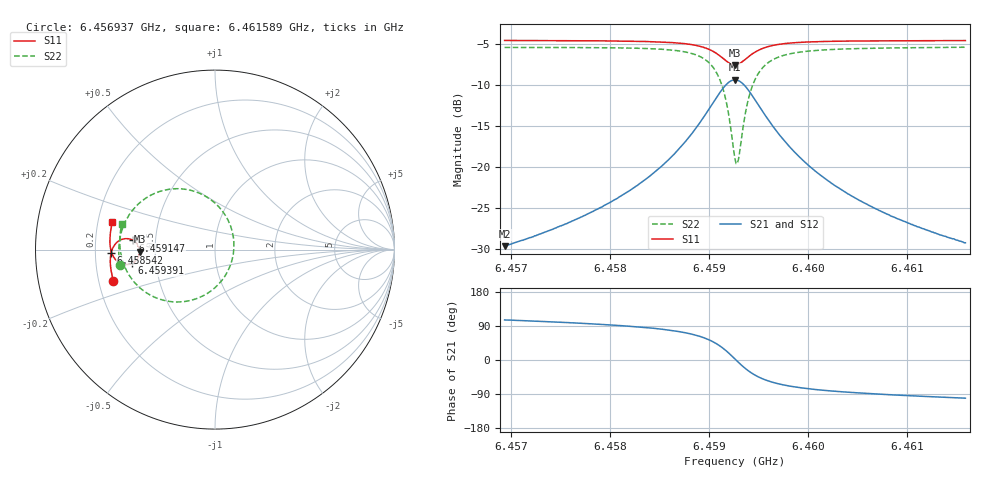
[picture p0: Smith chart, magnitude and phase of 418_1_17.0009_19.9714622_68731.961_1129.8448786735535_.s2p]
#  HZ  S  RI  R  50.00
! Rohde & Schwarz Vector Network Analyzer
! Rohde-Schwarz,ZNB20-2Port,1311601062101988,3.16
! Created: UTC 3/20/2024, 11:10:50 PM
! freq[Hz]  re:S11  im:S11  re:S21  im:S21  re:S12  im:S12  re:S22  im:S22
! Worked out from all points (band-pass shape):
!   401 points, 6.456937 GHz to 6.461589 GHz, reference 50 ohm
!   highest |S21| = -9.34 dB at 6.459263 GHz (marker M1); lowest = -29.6 dB at 6.456937 GHz (marker M2)
!   |S21| within 3 dB of the highest: 6.45903 GHz to 6.459496 GHz (465.4 kHz wide, 0.00721 % of centre)
!   lowest |S11| = -7.5 dB at 6.459263 GHz (marker M3), VSWR 2.45, Z = 20.4 - j0.54 ohm
!   |S11| at or under -10 dB: nowhere
!   |S22| runs from -19.6 to -5.4 dB; largest |S21 - S12| = 0.013
!   S11 on the Smith chart (normalised r, x): 6.456937 GHz: 0.26, -0.14; 6.458542 GHz: 0.27, -0.01; 6.459147 GHz: 0.37, +0.05; 6.459391 GHz: 0.37, -0.07; 6.461589 GHz: 0.26, +0.12
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6.4569367e9  -0.5658 -0.1754  -0.00902 0.0319  -0.00736 0.0319  -0.5297 -0.0883
6.4577159e9  -0.5802 -0.1074  -0.00594 0.0496  -0.00342 0.0491  -0.536 0.00192
6.4581696e9  -0.5834 -0.062  0.000521 0.0703  0.00374 0.0689  -0.5276 0.0735
6.4584952e9  -0.5798 -0.0231  0.0136 0.0975  0.0174 0.0949  -0.5039 0.1466
6.4585418e9  -0.5785 -0.0168  0.0169 0.1029  0.0208 0.0999  -0.4977 0.1598
6.4587511e9  -0.5664 0.015  0.0426 0.1343  0.0467 0.1296  -0.4496 0.2309
6.4589023e9  -0.5455 0.0412  0.0845 0.1645  0.0879 0.1579  -0.3722 0.295
6.4590535e9  -0.4998 0.0609  0.1754 0.1834  0.1763 0.1761  -0.2065 0.3393
6.4591466e9  -0.4557 0.0511  0.2643 0.153  0.2646 0.1472  -0.0419 0.2907
6.4591931e9  -0.4348 0.0325  0.3075 0.111  0.3088 0.1057  0.0403 0.2158
6.4592629e9  -0.4201 -0.0109  0.3408 0.0154  0.3445 0.00846  0.1052 0.0388
6.4592861e9  -0.4218 -0.0266  0.3388 -0.0195  0.3428 -0.0277  0.1017 -0.0273
6.4592978e9  -0.4238 -0.0343  0.3352 -0.0365  0.3391 -0.0455  0.0947 -0.0593
6.4593443e9  -0.4392 -0.06  0.3075 -0.0958  0.3096 -0.1074  0.0385 -0.1713
6.4593908e9  -0.461 -0.0761  0.2661 -0.1366  0.2652 -0.1495  -0.045 -0.2455
6.4594839e9  -0.5038 -0.0828  0.1824 -0.1675  0.1764 -0.1789  -0.2113 -0.2917
6.4596351e9  -0.5472 -0.0623  0.0955 -0.1542  0.0872 -0.1604  -0.377 -0.2437
6.4597979e9  -0.5686 -0.0348  0.0511 -0.1269  0.0437 -0.1296  -0.4567 -0.173
6.4600422e9  -0.5811 0.000889  0.0223 -0.0958  0.0165 -0.0965  -0.5045 -0.0915
6.4604144e9  -0.5856 0.0445  0.00573 -0.0682  0.00172 -0.0677  -0.5264 -0.00882
6.4608215e9  -0.5835 0.0851  -0.0013 -0.0513  -0.00419 -0.0503  -0.5303 0.055
6.4615891e9  -0.5711 0.1528  -0.00644 -0.0341  -0.00811 -0.0332  -0.5187 0.1447
